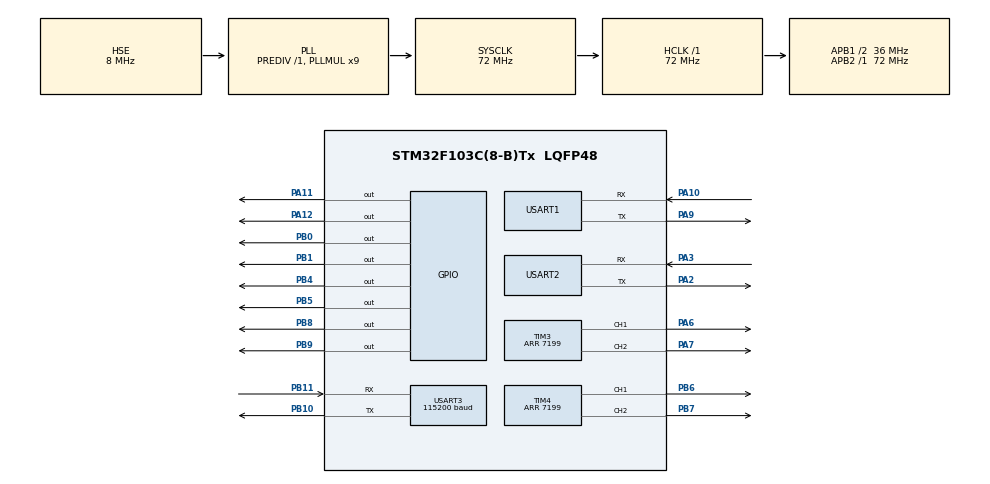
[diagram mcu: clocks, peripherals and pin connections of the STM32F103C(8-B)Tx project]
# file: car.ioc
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Mcu.Family=STM32F1
Mcu.Name=STM32F103C(8-B)Tx
Mcu.Package=LQFP48
NVIC.PriorityGroup=NVIC_PRIORITYGROUP_4
NVIC.USART1_IRQn=true\:0\:0\:false\:false\:true\:true\:true\:true
NVIC.USART2_IRQn=true\:0\:0\:false\:false\:true\:true\:true\:true
NVIC.USART3_IRQn=true\:0\:0\:false\:false\:true\:true\:true\:true
PA10.Mode=Asynchronous
PA10.Signal=USART1_RX
PA11.Signal=GPIO_Output
PA12.Signal=GPIO_Output
PA13.Mode=Serial_Wire
PA13.Signal=SYS_JTMS-SWDIO
PA14.Mode=Serial_Wire
PA14.Signal=SYS_JTCK-SWCLK
PA2.Mode=Asynchronous
PA2.Signal=USART2_TX
PA3.Mode=Asynchronous
PA3.Signal=USART2_RX
PA6.Signal=S_TIM3_CH1
PA7.Signal=S_TIM3_CH2
PA9.Mode=Asynchronous
PA9.Signal=USART1_TX
PB0.Signal=GPIO_Output
PB1.Signal=GPIO_Output
PB10.Mode=Asynchronous
PB10.Signal=USART3_TX
PB11.Mode=Asynchronous
PB11.Signal=USART3_RX
PB4.Signal=GPIO_Output
PB5.Signal=GPIO_Output
PB6.Signal=S_TIM4_CH1
PB7.Signal=S_TIM4_CH2
PB8.Signal=GPIO_Output
PB9.Signal=GPIO_Output
PD0-OSC_IN.Mode=HSE-External-Oscillator
PD0-OSC_IN.Signal=RCC_OSC_IN
PD1-OSC_OUT.Mode=HSE-External-Oscillator
PD1-OSC_OUT.Signal=RCC_OSC_OUT
ProjectManager.HeapSize=0x200
ProjectManager.StackSize=0x400
ProjectManager.TargetToolchain=MDK-ARM V5.32
RCC.AHBFreq_Value=72000000
RCC.APB1CLKDivider=RCC_HCLK_DIV2
RCC.APB1Freq_Value=36000000
RCC.APB1TimFreq_Value=72000000
RCC.APB2Freq_Value=72000000
RCC.APB2TimFreq_Value=72000000
RCC.HCLKFreq_Value=72000000
RCC.PLLMUL=RCC_PLL_MUL9
RCC.PLLSourceVirtual=RCC_PLLSOURCE_HSE
RCC.SYSCLKFreq_VALUE=72000000
RCC.SYSCLKSource=RCC_SYSCLKSOURCE_PLLCLK
RCC.USBFreq_Value=72000000
SH.S_TIM3_CH1.0=TIM3_CH1,PWM Generation1 CH1
SH.S_TIM3_CH2.0=TIM3_CH2,PWM Generation2 CH2
SH.S_TIM4_CH1.0=TIM4_CH1,PWM Generation1 CH1
SH.S_TIM4_CH2.0=TIM4_CH2,PWM Generation2 CH2
TIM2.Period=999
TIM2.Prescaler=71
TIM3.Channel-PWM\ Generation1\ CH1=TIM_CHANNEL_1
TIM3.Channel-PWM\ Generation2\ CH2=TIM_CHANNEL_2
TIM3.Period=7199
TIM4.Channel-PWM\ Generation1\ CH1=TIM_CHANNEL_1
TIM4.Channel-PWM\ Generation2\ CH2=TIM_CHANNEL_2
TIM4.Period=7199
USART1.VirtualMode=VM_ASYNC
USART2.VirtualMode=VM_ASYNC
USART3.BaudRate=115200
USART3.VirtualMode=VM_ASYNC
VP_TIM2_VS_ClockSourceINT.Mode=Internal
board=custom

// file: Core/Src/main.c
/* USER CODE BEGIN Header */
/**
  ******************************************************************************
  * @file           : main.c
  * @brief          : Main program body
  ******************************************************************************
  * @attention
  *
  * Copyright (c) 2025 STMicroelectronics.
  * All rights reserved.
  *
  * This software is licensed under terms that can be found in the LICENSE file
  * in the root directory of this software component.
  * If no LICENSE file comes with this software, it is provided AS-IS.
  *
  ******************************************************************************
  */
/* USER CODE END Header */
#include "main.h"
#include "tim.h"
#include "usart.h"
#include "gpio.h"

/* USER CODE BEGIN Includes */
#include <string.h>
#include <stdio.h>
#include "motor.h"
/* USER CODE END Includes */

/* USER CODE BEGIN PM */
#define DEVICE_ID "itmoqing1"  // 定义设备 ID
#define SPEED 7200
/* USER CODE END PM */

/* USER CODE BEGIN PV */
volatile char cmd;  // 用于存放移动端发送过来的控制命令
volatile uint8_t system_ready = 0;  // 系统就绪标志
uint32_t last_toggle_time = 0;      // 上次LED切换时间
uint8_t led_initialized = 0;        // LED状态初始化标志
/* USER CODE END PV */

void SystemClock_Config(void);

/* USER CODE BEGIN 0 */

// 重写 fputc 函数，将它重定向到 UART3
int fputc(int ch, FILE* fp)
{
	HAL_UART_Transmit(&huart3, (uint8_t*)&ch, 1, 1000);
	return ch;
}

/* USER CODE END 0 */

int main(void)
{

  /* MCU Configuration--------------------------------------------------------*/

  /* Reset of all peripherals, Initializes the Flash interface and the Systick. */
  HAL_Init();

  /* Configure the system clock */
  SystemClock_Config();

  /* Initialize all configured peripherals */
  MX_GPIO_Init();
  MX_TIM2_Init();
  MX_TIM3_Init();
  MX_TIM4_Init();
  MX_USART3_UART_Init();
  MX_USART2_UART_Init();
  MX_USART1_UART_Init();
  /* USER CODE BEGIN 2 */

  // 初始化LED
  __HAL_RCC_GPIOC_CLK_ENABLE();
  GPIO_InitTypeDef GPIO_InitStruct = {0};
  GPIO_InitStruct.Pin = GPIO_PIN_13;
  GPIO_InitStruct.Mode = GPIO_MODE_OUTPUT_PP;
  GPIO_InitStruct.Pull = GPIO_NOPULL;
  GPIO_InitStruct.Speed = GPIO_SPEED_FREQ_LOW;
  HAL_GPIO_Init(GPIOC, &GPIO_InitStruct);

  // 初始化为熄灭状态
  HAL_GPIO_WritePin(GPIOC, GPIO_PIN_13, GPIO_PIN_SET);

  // 电机初始化
  MOTOR_Init();

  // 用中断的方式接收一个字节的数据
  HAL_UART_Receive_IT(&huart1, (uint8_t*)&cmd, sizeof(cmd));

  HAL_Delay(1000);

  printf("System initializing...\r\n");

  float temp = 22;
  char s[100];
  uint32_t current_time = 0;

  /* USER CODE END 2 */

  /* Infinite loop */
  /* USER CODE BEGIN WHILE */
  while (1)
  {
    sprintf(s, DEVICE_ID"/sensor/light %.1f\n", temp);
    HAL_StatusTypeDef tx_status = HAL_UART_Transmit(&huart1, (uint8_t*)s, strlen(s), 1000);

    // 检查数据发送是否成功
    if(!system_ready && tx_status == HAL_OK)
    {
        system_ready = 1;
        // 数据上传成功，LED常亮
        HAL_GPIO_WritePin(GPIOC, GPIO_PIN_13, GPIO_PIN_RESET);
        printf("Data upload successful. System ready. Waiting for commands...\r\n");
    }

    // 如果数据上传未成功，LED闪烁
    if(!system_ready)
    {
        current_time = HAL_GetTick();
        if(current_time - last_toggle_time > 500)  // 500ms闪烁一次
        {
            HAL_GPIO_TogglePin(GPIOC, GPIO_PIN_13);
            last_toggle_time = current_time;
            printf("Data upload failed, retrying...\r\n");
        }
    }
    else
    {
        // 系统就绪后，确保LED保持常亮状态
        // 这里不需要做任何操作，因为已经在成功时设置为常亮了
    }

    HAL_Delay(1200);
    /* USER CODE END WHILE */

  }
}

void SystemClock_Config(void)
{
  RCC_OscInitTypeDef RCC_OscInitStruct = {0};
  RCC_ClkInitTypeDef RCC_ClkInitStruct = {0};

  /** Initializes the RCC Oscillators according to the specified parameters
  * in the RCC_OscInitTypeDef structure.
  */
  RCC_OscInitStruct.OscillatorType = RCC_OSCILLATORTYPE_HSE;
  RCC_OscInitStruct.HSEState = RCC_HSE_ON;
  RCC_OscInitStruct.HSEPredivValue = RCC_HSE_PREDIV_DIV1;
  RCC_OscInitStruct.HSIState = RCC_HSI_ON;
  RCC_OscInitStruct.PLL.PLLState = RCC_PLL_ON;
  RCC_OscInitStruct.PLL.PLLSource = RCC_PLLSOURCE_HSE;
  RCC_OscInitStruct.PLL.PLLMUL = RCC_PLL_MUL9;
  if (HAL_RCC_OscConfig(&RCC_OscInitStruct) != HAL_OK)
  {
    Error_Handler();
  }

  /** Initializes the CPU, AHB and APB buses clocks
  */
  RCC_ClkInitStruct.ClockType = RCC_CLOCKTYPE_HCLK|RCC_CLOCKTYPE_SYSCLK
                              |RCC_CLOCKTYPE_PCLK1|RCC_CLOCKTYPE_PCLK2;
  RCC_ClkInitStruct.SYSCLKSource = RCC_SYSCLKSOURCE_PLLCLK;
  RCC_ClkInitStruct.AHBCLKDivider = RCC_SYSCLK_DIV1;
  RCC_ClkInitStruct.APB1CLKDivider = RCC_HCLK_DIV2;
  RCC_ClkInitStruct.APB2CLKDivider = RCC_HCLK_DIV1;

  if (HAL_RCC_ClockConfig(&RCC_ClkInitStruct, FLASH_LATENCY_2) != HAL_OK)
  {
    Error_Handler();
  }
}

/* USER CODE BEGIN 4 */
void HAL_UART_RxCpltCallback(UART_HandleTypeDef *huart)
{
	if(huart == &huart1)
	{
        // 只有在系统就绪后才处理命令
        if(system_ready)
        {
            if(cmd == 'e')
            {
                Car_Forward(SPEED);
                printf("Moving forward\r\n");
            }
            else if(cmd == 'b')
            {
                Car_Backward(SPEED);
                printf("Moving backward\r\n");
            }
            else if(cmd == 'l')
            {
                Car_TurnLeft(SPEED);
                printf("Turning left\r\n");
            }
            else if(cmd == 'r')
            {
                Car_TurnRight(SPEED);
                printf("Turning right\r\n");
            }
            else if(cmd == 'c')
            {
                Car_Stop();
                printf("Stopping\r\n");
            }
            else
            {
                printf("Unknown command: 0x%02X\r\n", cmd);
            }
        }
        else
        {
            // 系统未就绪时，忽略接收到的数据
            printf("System initializing, ignoring data: 0x%02X\r\n", cmd);
        }

		HAL_UART_Receive_IT(&huart1, (uint8_t*)&cmd, sizeof(cmd));
	}
}
/* USER CODE END 4 */

void Error_Handler(void)
{
  __disable_irq();
  while (1)
  {
  }
}
